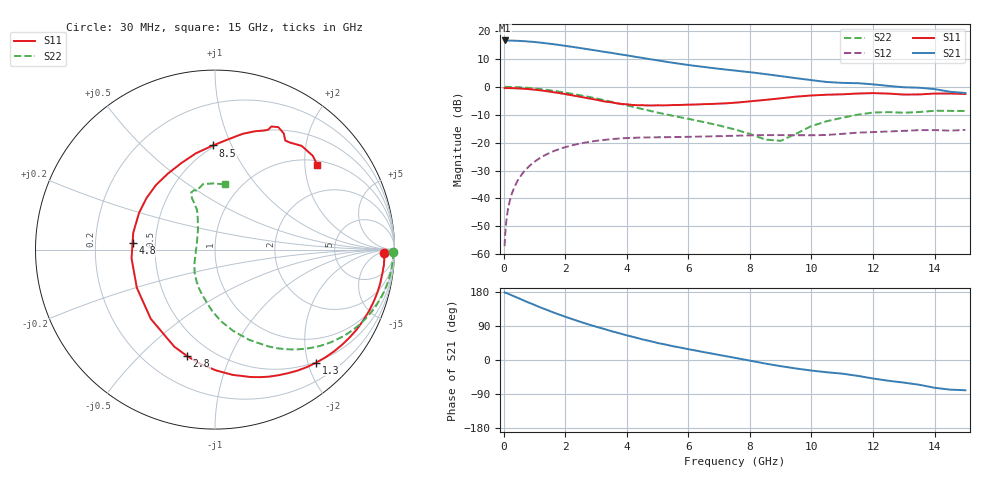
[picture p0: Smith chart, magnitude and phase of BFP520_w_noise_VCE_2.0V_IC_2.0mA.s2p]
! Infineon Technologies  Discrete & RF Semiconductors
! BFP520
! VCE =  2.0 V,  IC =  2.0 mA
! Common Emitter S-Parameters:  Oct 2015
# GHz  S  MA  R  50
!  f  S11  S21  S12  S22
! GHz  MAG  ANG  MAG  ANG  MAG  ANG  MAG  ANG
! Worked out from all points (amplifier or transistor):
!   109 points, 30 MHz to 15 GHz, reference 50 ohm
!   highest |S21| = 16.5 dB at 30 MHz (marker M1)
!   |S21| within 3 dB of that: start of sweep to 2.651 GHz
!   unconditionally stable (mu >= 1): 5.096 GHz to end of sweep
!   at 450 MHz: K = 0.05, MSG = 25.0 dB, |S12| = -33.7 dB
!   at 4 GHz: K = 0.75, MSG = 14.8 dB, |S12| = -18.4 dB
!   at 15 GHz: K = 1.65, MAG = 1.9 dB, |S12| = -15.5 dB
!   lowest NFmin = 0.94 dB at 900 MHz
!   S11 on the Smith chart (normalised r, x): 30 MHz: 31, -10; 1.3 GHz: 0.49, -2.14; 2.8 GHz: 0.37, -0.70; 4.8 GHz: 0.37, +0.03; 8.5 GHz: 0.49, +0.85; 15 GHz: 1.10, +2.31
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0.03  0.944 -1.1  6.72 178.7  0.0014 78.5  0.9922 -0.7
0.05  0.9443 -1.7  6.662 177.4  0.0024 88.2  0.9923 -1.1
0.11  0.9433 -4.1  6.673 176.1  0.0051 85.8  0.9923 -2.6
0.35  0.9381 -12.9  6.654 167.7  0.016 82.6  0.9854 -8.2
0.8  0.9059 -29.6  6.429 151.9  0.0365 73.7  0.9524 -18.8
1.3  0.8452 -48.2  6.055 135.4  0.0579 63.5  0.8913 -29.9
1.6  0.7995 -59.5  5.777 125.9  0.0693 57.3  0.8459 -36.1
1.9  0.7534 -70.6  5.482 117.2  0.0796 51.5  0.7992 -41.9
2.2  0.7052 -81.9  5.187 108.6  0.0886 46.0  0.7499 -47.4
2.6  0.6426 -97.1  4.808 97.9  0.0989 39.0  0.6836 -54.3
2.8  0.6131 -104.7  4.622 92.8  0.1034 35.7  0.6505 -57.7
3.5  0.5259 -132.9  4.029 76.0  0.1155 25.0  0.5381 -69.2
4  0.4847 -154.0  3.641 64.9  0.1206 18.1  0.4631 -77.5
4.8  0.4608 175.5  3.079 49.0  0.1239 9.2  0.365 -89.4
5.1  0.4638 165.6  2.9 43.3  0.1246 6.5  0.3351 -93.5
6.1  0.4783 140.7  2.405 27.0  0.1271 -0.7  0.2589 -106.3
7.6  0.5214 109.3  1.92 4.4  0.1328 -9.8  0.1661 -133.1
8.5  0.5803 91.2  1.681 -9.4  0.136 -15.6  0.1131 -165.1
9  0.6198 83.0  1.546 -16.3  0.1362 -18.9  0.1074 159.9
10.5  0.7183 67.5  1.214 -32.4  0.1369 -23.8  0.2413 114.4
13  0.7229 57.2  0.976 -59.6  0.162 -38.2  0.3421 106.5
15  0.7405 39.7  0.771 -79.8  0.1685 -51.4  0.3671 81.5
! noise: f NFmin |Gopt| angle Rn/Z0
0.45  0.96  0.67  4  0.42
0.9  0.94  0.62  13  0.44
1.9  1.27  0.51  28  0.36
2.4  1.35  0.47  39  0.35
3.5  1.32  0.46  64  0.31
